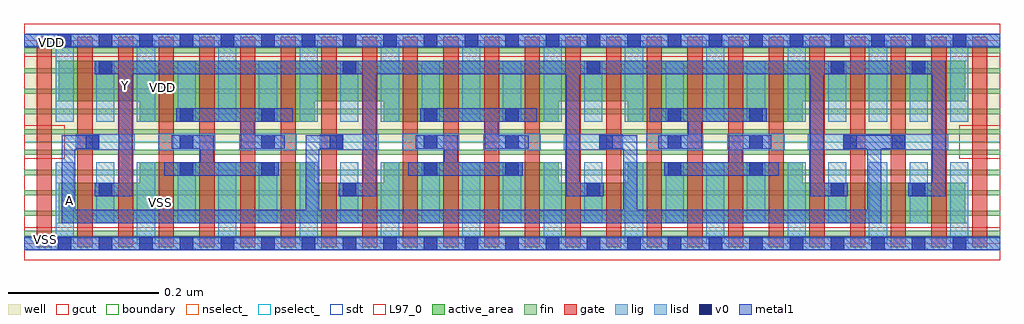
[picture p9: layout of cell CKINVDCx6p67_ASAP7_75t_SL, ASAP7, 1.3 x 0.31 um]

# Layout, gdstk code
import gdstk
lib = gdstk.Library(unit=1e-6, precision=2.5e-10)
def R(c, l, rs):  # rectangles x0, y0, x1, y1
    for r in rs: c.add(gdstk.rectangle(r[:2], r[2:], *l))
def A(c, l, x, y, w, h, nx, ny, dx, dy):  # array of equal rectangles
    R(c, l, [(x+i*dx, y+j*dy, x+i*dx+w, y+j*dy+h) for i in range(nx) for j in range(ny)])
def P(c, l, *ps):  # polygons
    for p in ps: c.add(gdstk.Polygon(p, *l))
well = (1, 0)
fin = (2, 0)
gate = (7, 0)
gcut = (10, 0)
active_area = (11, 0)
nselect_ = (12, 0)
pselect_ = (13, 0)
lig = (16, 0)
lisd = (17, 0)
v0 = (18, 0)
metal1 = (19, 0)
sdt = (88, 0)
L97_0 = (97, 0)
boundary = (100, 0)

ckinvdcx6p67_asap7_75t_s = lib.new_cell('CKINVDCx6p67_ASAP7_75t_SL')
R(ckinvdcx6p67_asap7_75t_s, well, [(0,0.135,1.296,0.27)])
A(ckinvdcx6p67_asap7_75t_s, fin, 0, 0.01, 1.296, 0.007, 1, 10, 0, 0.027)
A(ckinvdcx6p67_asap7_75t_s, gate, 0.017, -0.005, 0.02, 0.28, 24, 1, 0.054, 0)
R(ckinvdcx6p67_asap7_75t_s, gcut, [(0,-0.022,1.296,0.022), (0,0.113,0.054,0.157), (1.242,0.113,1.296,0.157), (0,0.248,1.296,0.292)])
P(ckinvdcx6p67_asap7_75t_s, active_area, [(1.25,0.243),(0.046,0.243),(0.046,0.189),(0.154,0.189),(0.154,0.162),(0.386,0.162),(0.386,0.189),(0.478,0.189),(0.478,0.162),(0.71,0.162),(0.71,0.189),(0.802,0.189),(0.802,0.162),(1.034,0.162),(1.034,0.189),(1.25,0.189)],
  [(1.25,0.081),(1.034,0.081),(1.034,0.108),(0.802,0.108),(0.802,0.081),(0.71,0.081),(0.71,0.108),(0.478,0.108),(0.478,0.081),(0.386,0.081),(0.386,0.108),(0.154,0.108),(0.154,0.081),(0.046,0.081),(0.046,0.027),(1.25,0.027)])
R(ckinvdcx6p67_asap7_75t_s, nselect_, [(0,0,1.296,0.135)])
R(ckinvdcx6p67_asap7_75t_s, pselect_, [(0,0.135,1.296,0.27)])
A(ckinvdcx6p67_asap7_75t_s, lig, 0.069, 0.125, 0.078, 0.02, 3, 1, 0.324, 0)
R(ckinvdcx6p67_asap7_75t_s, lig, [(0,-0.008,1.296,0.008), (0.178,0.124,0.254,0.146), (0.286,0.124,0.362,0.146), (0.502,0.124,0.578,0.146), (0.61,0.124,0.686,0.146), (0.826,0.124,0.902,0.146), (0.934,0.124,1.01,0.146), (1.041,0.125,1.227,0.145), (0,0.262,1.296,0.278)])
A(ckinvdcx6p67_asap7_75t_s, lisd, 0.042, 0, 0.024, 0.108, 12, 2, 0.108, 0.162)
A(ckinvdcx6p67_asap7_75t_s, lisd, 0.096, 0.027, 0.024, 0.081, 11, 2, 0.108, 0.135)
A(ckinvdcx6p67_asap7_75t_s, v0, 0.045, -0.009, 0.018, 0.018, 23, 2, 0.054, 0.27)
A(ckinvdcx6p67_asap7_75t_s, v0, 0.099, 0.063, 0.018, 0.018, 4, 2, 0.324, 0.162)
A(ckinvdcx6p67_asap7_75t_s, v0, 0.207, 0.09, 0.018, 0.018, 1, 3, 0, 0.036)
A(ckinvdcx6p67_asap7_75t_s, v0, 0.315, 0.09, 0.018, 0.018, 1, 3, 0, 0.036)
A(ckinvdcx6p67_asap7_75t_s, v0, 0.531, 0.09, 0.018, 0.018, 1, 3, 0, 0.036)
A(ckinvdcx6p67_asap7_75t_s, v0, 0.639, 0.09, 0.018, 0.018, 1, 3, 0, 0.036)
A(ckinvdcx6p67_asap7_75t_s, v0, 0.855, 0.09, 0.018, 0.018, 1, 3, 0, 0.036)
A(ckinvdcx6p67_asap7_75t_s, v0, 0.963, 0.09, 0.018, 0.018, 1, 3, 0, 0.036)
R(ckinvdcx6p67_asap7_75t_s, v0, [(1.179,0.063,1.197,0.081), (0.082,0.126,0.1,0.144), (0.406,0.126,0.424,0.144), (0.764,0.126,0.782,0.144), (1.088,0.126,1.106,0.144), (1.152,0.126,1.17,0.144), (1.179,0.225,1.197,0.243)])
R(ckinvdcx6p67_asap7_75t_s, metal1, [(0,-0.009,1.296,0.009), (0,0.261,1.296,0.279)])
P(ckinvdcx6p67_asap7_75t_s, metal1, [(1.224,0.243),(0.094,0.243),(0.094,0.225),(0.126,0.225),(0.126,0.081),(0.094,0.081),(0.094,0.063),(0.144,0.063),(0.144,0.225),(0.45,0.225),(0.45,0.081),(0.418,0.081),(0.418,0.063),(0.468,0.063),(0.468,0.225),(0.72,0.225),(0.72,0.063),(0.77,0.063),(0.77,0.081),(0.738,0.081),(0.738,0.225),(1.044,0.225),(1.044,0.063),(1.094,0.063),(1.094,0.081),(1.062,0.081),(1.062,0.225),(1.206,0.225),(1.206,0.081),(1.174,0.081),(1.174,0.063),(1.224,0.063)],
  [(1.002,0.108),(0.954,0.108),(0.954,0.126),(0.992,0.126),(0.992,0.144),(0.936,0.144),(0.936,0.108),(0.85,0.108),(0.85,0.09),(1.002,0.09)],
  [(1.17,0.144),(1.088,0.144),(1.088,0.126),(1.12,0.126),(1.12,0.045),(0.814,0.045),(0.814,0.144),(0.764,0.144),(0.764,0.126),(0.796,0.126),(0.796,0.045),(0.392,0.045),(0.392,0.126),(0.424,0.126),(0.424,0.144),(0.374,0.144),(0.374,0.045),(0.068,0.045),(0.068,0.126),(0.1,0.126),(0.1,0.144),(0.05,0.144),(0.05,0.027),(1.138,0.027),(1.138,0.126),(1.17,0.126)],
  [(0.986,0.18),(0.831,0.18),(0.831,0.162),(0.882,0.162),(0.882,0.144),(0.842,0.144),(0.842,0.126),(0.9,0.126),(0.9,0.162),(0.986,0.162)],
  [(0.681,0.18),(0.526,0.18),(0.526,0.162),(0.612,0.162),(0.612,0.126),(0.67,0.126),(0.67,0.144),(0.63,0.144),(0.63,0.162),(0.681,0.162)],
  [(0.662,0.108),(0.576,0.108),(0.576,0.144),(0.52,0.144),(0.52,0.126),(0.558,0.126),(0.558,0.108),(0.51,0.108),(0.51,0.09),(0.662,0.09)],
  [(0.357,0.18),(0.202,0.18),(0.202,0.162),(0.288,0.162),(0.288,0.126),(0.346,0.126),(0.346,0.144),(0.306,0.144),(0.306,0.162),(0.357,0.162)],
  [(0.338,0.108),(0.252,0.108),(0.252,0.144),(0.196,0.144),(0.196,0.126),(0.234,0.126),(0.234,0.108),(0.186,0.108),(0.186,0.09),(0.338,0.09)])
A(ckinvdcx6p67_asap7_75t_s, sdt, 0.096, 0.027, 0.024, 0.054, 4, 2, 0.324, 0.162)
A(ckinvdcx6p67_asap7_75t_s, sdt, 0.15, 0.027, 0.024, 0.081, 5, 2, 0.054, 0.135)
A(ckinvdcx6p67_asap7_75t_s, sdt, 0.474, 0.027, 0.024, 0.081, 5, 2, 0.054, 0.135)
A(ckinvdcx6p67_asap7_75t_s, sdt, 0.798, 0.027, 0.024, 0.081, 5, 2, 0.054, 0.135)
A(ckinvdcx6p67_asap7_75t_s, sdt, 1.122, 0.027, 0.024, 0.054, 3, 2, 0.054, 0.162)
R(ckinvdcx6p67_asap7_75t_s, sdt, [(0.042,0.027,0.066,0.081), (0.042,0.189,0.066,0.243)])
R(ckinvdcx6p67_asap7_75t_s, L97_0, [(0,0,1.296,0.27)])
R(ckinvdcx6p67_asap7_75t_s, boundary, [(0,0,1.296,0.27)])
ckinvdcx6p67_asap7_75t_s.add(gdstk.Label('VDD', (0.184,0.207), layer=1, texttype=251))
ckinvdcx6p67_asap7_75t_s.add(gdstk.Label('VSS', (0.181,0.055), layer=3, texttype=251))
ckinvdcx6p67_asap7_75t_s.add(gdstk.Label('VSS', (0.029,0.006), layer=19, texttype=251))
ckinvdcx6p67_asap7_75t_s.add(gdstk.Label('VDD', (0.036,0.2665), layer=19, texttype=251))
ckinvdcx6p67_asap7_75t_s.add(gdstk.Label('Y', (0.135,0.21), layer=19, texttype=251))
ckinvdcx6p67_asap7_75t_s.add(gdstk.Label('A', (0.06,0.057), layer=19, texttype=251))

lib.write_gds('CKINVDCx6p67_ASAP7_75t_SL.gds')
